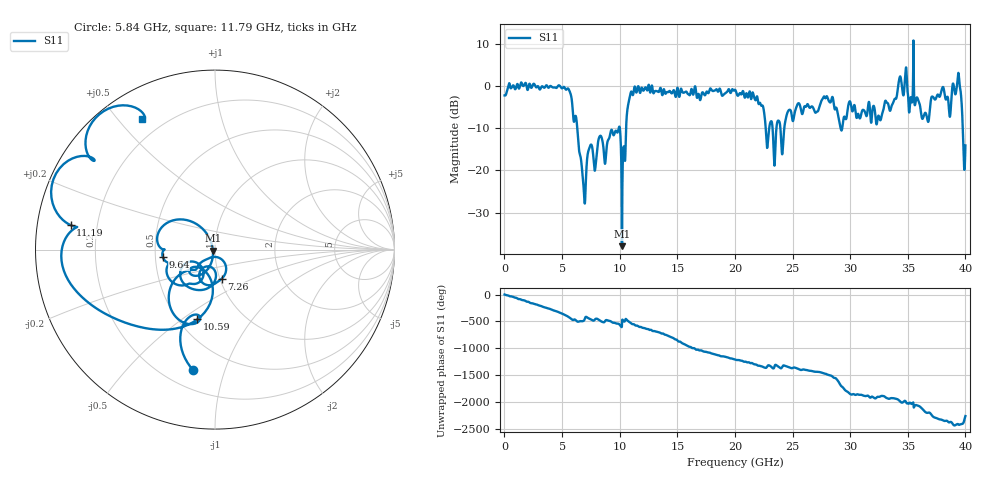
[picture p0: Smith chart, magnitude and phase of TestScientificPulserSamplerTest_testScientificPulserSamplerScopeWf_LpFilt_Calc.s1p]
# MHz MA S R 50.0
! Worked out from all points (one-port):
!   4000 points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, 10 MHz to 40 GHz, reference 50 ohm
!   lowest |S11| = -37.9 dB at 10.2 GHz (marker M1), VSWR 1.03, Z = 48.9 - j0.524 ohm
!   |S11| at or under -10 dB: 6.315 GHz to 9.915 GHz (3.6 GHz wide, 44.4 % of centre); 10.01 GHz to 10.56 GHz (547 MHz wide, 5.32 % of centre); 23.94 GHz to 24.28 GHz (338.2 MHz wide, 1.4 % of centre)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
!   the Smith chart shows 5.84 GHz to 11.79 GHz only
!   S11 on the Smith chart (normalised r, x): 5.84 GHz: 0.31, -0.79; 7.26 GHz: 1.02, -0.34; 9.64 GHz: 0.55, -0.05; 10.59 GHz: 0.62, -0.57; 11.19 GHz: 0.10, +0.08; 11.79 GHz: 0.12, +0.58
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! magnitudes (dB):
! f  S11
! 10 MHz  -2.3
! 5.01 GHz  -0.6
! 5.84 GHz  -3.3
! 6.87 GHz  -24.2
! 7.26 GHz  -15.6
! 9.64 GHz  -10.6
! 10.01 GHz  -10.0
! 10.2 GHz  -37.9
! 10.34 GHz  -14.4
! 10.59 GHz  -8.0
! 11.19 GHz  -1.8
! 11.79 GHz  -1.6
! 15.01 GHz  -0.4
! 20.01 GHz  -0.9
! 22.05 GHz  -4.2
! 23.42 GHz  -18.7
! 23.75 GHz  -8.2
! 24.13 GHz  -15.8
! 25.01 GHz  -8.3
! 27.86 GHz  -2.9
! 29.22 GHz  -10.5
! 30.01 GHz  -3.8
! 32.44 GHz  -7.1
! 34.3 GHz  2.0
! 35.01 GHz  -1.9
! 36.69 GHz  -7.8
! 39.42 GHz  2.7
! 40 GHz  -14.1
